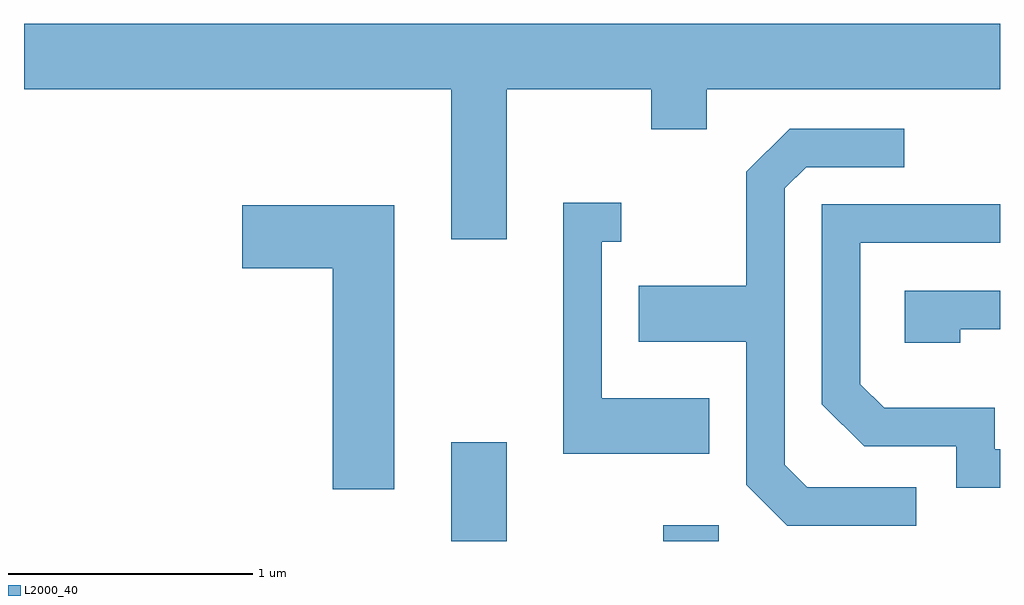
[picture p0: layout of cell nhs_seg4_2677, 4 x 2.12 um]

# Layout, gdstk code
import gdstk
lib = gdstk.Library(unit=1e-6, precision=1e-09)
def R(c, l, rs):  # rectangles x0, y0, x1, y1
    for r in rs: c.add(gdstk.rectangle(r[:2], r[2:], *l))
def P(c, l, *ps):  # polygons
    for p in ps: c.add(gdstk.Polygon(p, *l))
L2000_40 = (2000, 40)

nhs_seg4_2677 = lib.new_cell('nhs_seg4_2677')
R(nhs_seg4_2677, L2000_40, [(265.361,1303.982,265.589,1304.389), (266.231,1303.982,266.459,1304.049)])
P(nhs_seg4_2677, L2000_40, [(265.589,1305.836),(266.181,1305.836),(266.181,1305.671),(266.409,1305.671),(266.409,1305.836),(267.611,1305.836),(267.611,1306.104),(263.611,1306.104),(263.611,1305.836),(265.361,1305.836),(265.361,1305.221),(265.589,1305.221)],
  [(267.268,1304.204),(266.822,1304.204),(266.729,1304.297),(266.729,1305.429),(266.817,1305.516),(267.218,1305.516),(267.218,1305.674),(266.749,1305.674),(266.571,1305.497),(266.571,1305.029),(266.131,1305.029),(266.131,1304.801),(266.571,1304.801),(266.571,1304.214),(266.739,1304.046),(267.268,1304.046)],
  [(266.419,1304.569),(265.979,1304.569),(265.979,1305.211),(266.058,1305.211),(266.058,1305.369),(265.821,1305.369),(265.821,1304.341),(266.419,1304.341)],
  [(267.611,1304.359),(267.589,1304.359),(267.589,1304.529),(267.137,1304.529),(267.039,1304.627),(267.039,1305.206),(267.611,1305.206),(267.611,1305.364),(266.881,1305.364),(266.881,1304.544),(267.054,1304.371),(267.431,1304.371),(267.431,1304.201),(267.611,1304.201)],
  [(265.129,1305.359),(264.506,1305.359),(264.506,1305.101),(264.876,1305.101),(264.876,1304.196),(265.129,1304.196)],
  [(267.449,1304.851),(267.611,1304.851),(267.611,1305.009),(267.221,1305.009),(267.221,1304.796),(267.449,1304.796)])

lib.write_gds('nhs_seg4_2677.gds')
